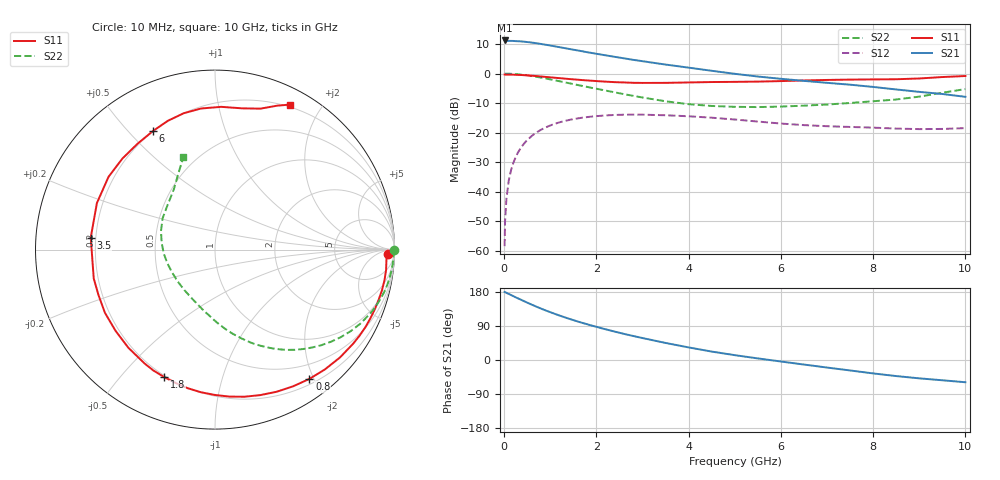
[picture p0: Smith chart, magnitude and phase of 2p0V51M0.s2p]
! (c) 2009  Infineon Technologies AG, Munich
! Infineon Technologies  Discrete & RF Semiconductors
! BFP420
! VCE =  0.5 V,  IC =  1.0 mA
! Common Emitter S-Parameters:  Nov 2009
# GHz  S  MA  R  50
!  f  S11  S21  S12  S22
! GHz  MAG  ANG  MAG  ANG  MAG  ANG  MAG  ANG
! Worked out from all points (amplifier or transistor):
!   46 points, 10 MHz to 10 GHz, reference 50 ohm
!   highest |S21| = 11.2 dB at 10 MHz (marker M1)
!   |S21| within 3 dB of that: start of sweep to 1.456 GHz
!   unconditionally stable (mu >= 1): 4.398 GHz to end of sweep
!   at 300 MHz: K = 0.03, MSG = 18.8 dB, |S12| = -26.7 dB
!   at 1.7 GHz: K = 0.33, MSG = 11.2 dB, |S12| = -14.9 dB
!   at 10 GHz: K = 1.31, MAG = 1.9 dB, |S12| = -18.5 dB
!   lowest NFmin = 0.53 dB at 900 MHz
!   S11 on the Smith chart (normalised r, x): 10 MHz: 34, -25; 800 MHz: 0.27, -1.94; 1.8 GHz: 0.19, -0.66; 3.5 GHz: 0.18, +0.05; 6 GHz: 0.20, +0.59; 10 GHz: 0.17, +1.63
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0.01  0.9624 -1.6  3.631 179.5  0.0012 93.2  0.995 -0.2
0.02  0.9599 -1.3  3.522 179.3  0.0032 88.8  0.9955 -0.9
0.05  0.9567 -3.3  3.546 177.1  0.0077 88.0  0.9951 -2.3
0.1  0.96 -6.8  3.569 174.4  0.0155 85.7  0.9932 -4.7
0.15  0.9596 -10.2  3.568 171.4  0.0233 83.4  0.9898 -7.1
0.3  0.9503 -20.6  3.526 162.7  0.0462 76.6  0.9718 -14.1
0.5  0.9314 -34.2  3.415 151.4  0.0749 67.7  0.9321 -22.9
0.8  0.892 -53.9  3.166 135.7  0.1121 55.1  0.8536 -34.9
1  0.8632 -66.6  2.983 126.2  0.1324 47.5  0.7963 -42.0
1.2  0.836 -78.7  2.795 117.3  0.1495 40.4  0.7406 -48.4
1.7  0.7746 -106.6  2.378 97.8  0.1796 25.1  0.6164 -62.0
1.8  0.7647 -111.7  2.297 94.3  0.1835 22.4  0.5949 -64.4
2.2  0.7293 -131.5  2.034 81.0  0.1956 12.3  0.5155 -73.5
2.6  0.7072 -150.1  1.809 68.9  0.2012 3.0  0.4478 -82.3
3  0.6945 -166.6  1.618 57.9  0.2014 -5.0  0.3934 -90.6
3.5  0.6955 174.5  1.42 45.0  0.1969 -13.9  0.3397 -102.0
4.5  0.7185 145.6  1.114 22.2  0.1791 -27.8  0.2829 -127.2
5.5  0.7308 126.3  0.891 4.2  0.1541 -36.5  0.2708 -151.3
6  0.7457 117.6  0.815 -4.0  0.1426 -38.6  0.2759 -163.6
7  0.7795 102.9  0.697 -19.9  0.1285 -39.8  0.299 173.0
8.5  0.8012 79.2  0.538 -42.4  0.1172 -40.7  0.3637 136.3
10  0.9092 62.7  0.404 -58.7  0.1193 -36.6  0.5461 108.8
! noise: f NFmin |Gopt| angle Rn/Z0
0.9  0.53  0.67  34  0.35
1.8  1.15  0.44  77  0.27
2.4  1.28  0.44  100  0.22
3  1.61  0.45  131  0.15
4  1.9  0.47  -177  0.09
5  2.32  0.44  -133  0.45
6  3.43  0.6  -118  0.25
